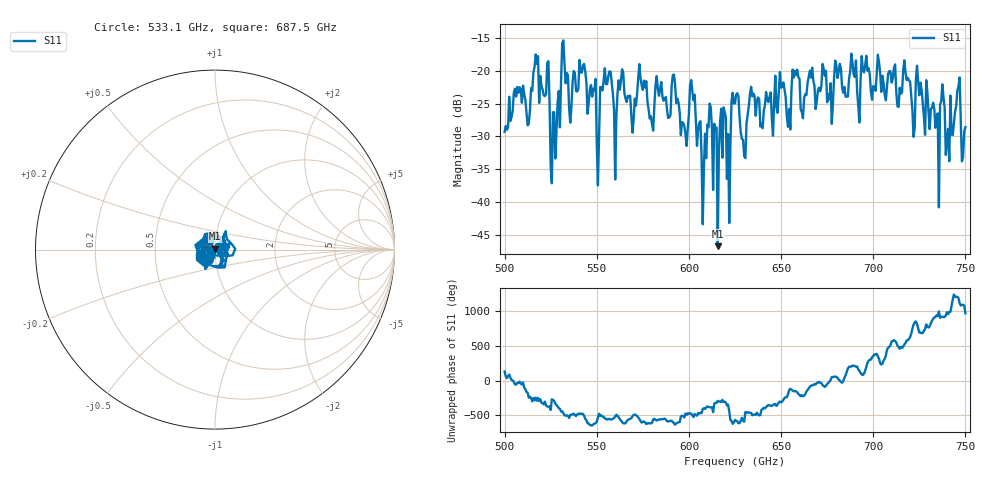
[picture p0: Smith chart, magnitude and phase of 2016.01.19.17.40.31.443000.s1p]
!Created with skrf (http://scikit-rf.org).
# GHz S RI R 50.0
!freq ReS11 ImS11
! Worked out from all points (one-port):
!   401 points, 500 GHz to 750 GHz, reference 50 ohm
!   lowest |S11| = -46.8 dB at 615.6 GHz (marker M1), VSWR 1.01, Z = 50.2 + j0.43 ohm
!   |S11| at or under -10 dB: start of sweep to end of sweep
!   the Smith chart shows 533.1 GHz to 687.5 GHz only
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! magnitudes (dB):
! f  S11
! 500 GHz  -29.3
! 513.1 GHz  -28.1
! 516.9 GHz  -17.5
! 523.1 GHz  -18.8
! 526.2 GHz  -26.3
! 531.2 GHz  -15.8
! 541.9 GHz  -20.3
! 551.2 GHz  -29.7
! 553.1 GHz  -23.0
! 560 GHz  -36.6
! 562.5 GHz  -22.9
! 593.8 GHz  -24.2
! 598.1 GHz  -29.7
! 601.9 GHz  -23.2
! 608.1 GHz  -34.8
! 611.2 GHz  -25.0
! 615.6 GHz  -46.8
! 618.8 GHz  -25.6
! 621.9 GHz  -43.2
! 625 GHz  -25.0
! 629.4 GHz  -30.5
! 634.4 GHz  -23.9
! 656.2 GHz  -19.8
! 687.5 GHz  -20.1
! 718.8 GHz  -21.1
! 740 GHz  -30.6
! 745.6 GHz  -23.0
! 750 GHz  -28.6
